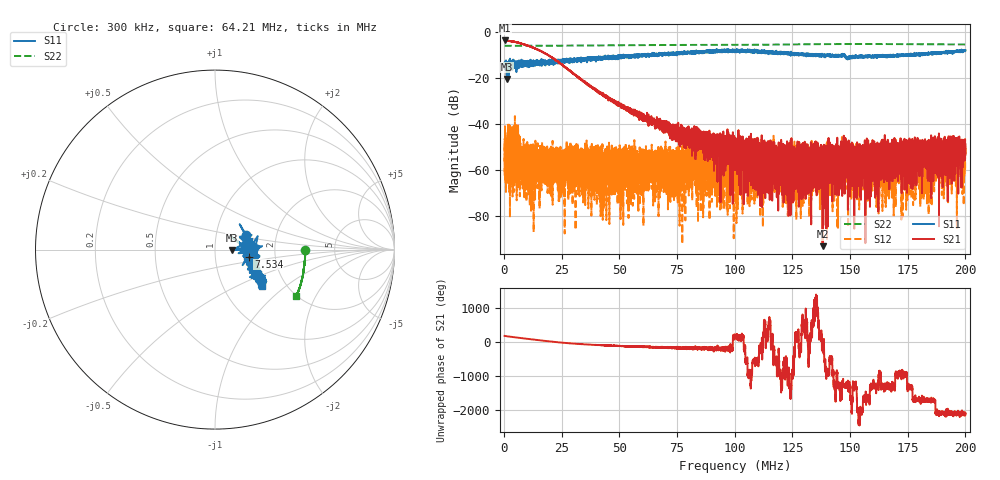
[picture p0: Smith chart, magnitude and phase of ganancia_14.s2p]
# Hz S DB R 50
! CMT, M5065, 19127446, 24.2.4/2
! Date: 11/8/2024 6:33:17 PM
! Data: Format (Calibration Info)
! Freq	S11:dB/Ang(F2)	S21:dB/Ang(F2)	S12:dB/Ang(F2)	S22:dB/Ang(F2)
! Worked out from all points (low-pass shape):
!   9000 points, 300 kHz to 200 MHz, reference 50 ohm
!   highest |S21| = -3.65 dB at 300 kHz (marker M1); lowest = -93.3 dB at 138.1 MHz (marker M2)
!   |S21| within 3 dB of the highest: start of sweep to 12.24 MHz; 12.29366 MHz to 12.31133 MHz (17.67 kHz wide, 0.144 % of centre)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
!   lowest |S11| = -20.4 dB at 1.365 MHz (marker M3), VSWR 1.21, Z = 60.5 - j0.465 ohm
!   |S11| at or under -10 dB: start of sweep to 50.61 MHz; 52.07 MHz to 53.87 MHz (1.794 MHz wide, 3.39 % of centre); 147.8 MHz to 161.7 MHz (13.92 MHz wide, 9 % of centre)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
!   |S22| runs from -6.0 to -5.2 dB; largest |S21 - S12| = 0.66
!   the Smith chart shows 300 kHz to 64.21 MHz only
!   S11 on the Smith chart (normalised r, x): 300 kHz: 1.39, +0.23; 7.534 MHz: 1.45, -0.12; 64.21 MHz: 1.53, -0.69
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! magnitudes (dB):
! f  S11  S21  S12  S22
! 300 kHz  -14.5  -3.7  -48.9  -6.0
! 1.365 MHz  -20.4  -3.8  -48.6  -6.0
! 7.534 MHz  -14.4  -5.0  -64.1  -6.0
! 12.02 MHz  -13.7  -6.6  -58.0  -6.0
! 16.5 MHz  -13.0  -8.6  -53.6  -6.0
! 33.59 MHz  -12.6  -20.8  -59.4  -5.9
! 41.24 MHz  -10.7  -26.5  -58.1  -5.8
! 64.21 MHz  -9.6  -38.3  -54.9  -5.7
! 66.87 MHz  -9.7  -39.4  -67.5  -5.6
! 100.2 MHz  -8.2  -50.8  -51.6  -5.6
! 118.2 MHz  -9.4  -50.3  -53.5  -5.5
! 128.7 MHz  -9.6  -54.4  -62.9  -5.3
! 133.4 MHz  -10.2  -63.3  -63.3  -5.3
! 138.1 MHz  -10.1  -93.3  -55.0  -5.3
! 144.8 MHz  -10.1  -52.9  -85.3  -5.2
! 148 MHz  -10.3  -46.1  -53.4  -5.2
! 150.1 MHz  -10.5  -51.0  -65.7  -5.2
! 152 MHz  -10.5  -50.4  -53.3  -5.2
! 166.7 MHz  -10.7  -52.7  -56.2  -5.2
! 195.7 MHz  -8.5  -48.3  -50.8  -5.4
! 198.9 MHz  -8.3  -49.8  -50.0  -5.4
! 200 MHz  -7.9  -48.9  -49.0  -5.4
